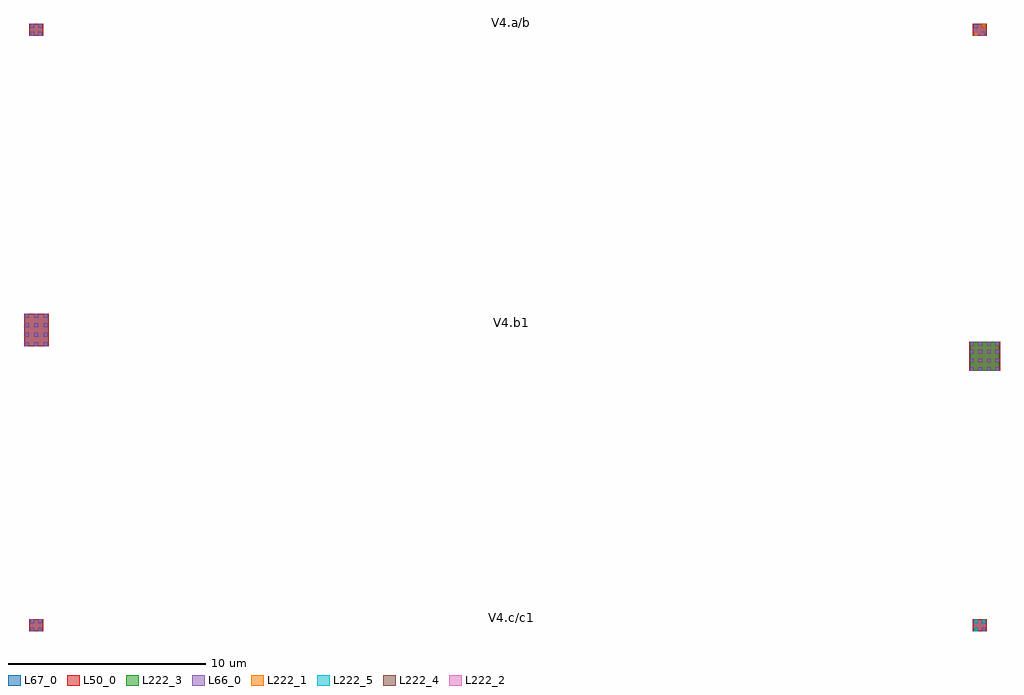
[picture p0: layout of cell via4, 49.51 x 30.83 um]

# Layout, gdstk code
import gdstk
lib = gdstk.Library(unit=1e-6, precision=1e-09)
def R(c, l, rs):  # rectangles x0, y0, x1, y1
    for r in rs: c.add(gdstk.rectangle(r[:2], r[2:], *l))
def A(c, l, x, y, w, h, nx, ny, dx, dy):  # array of equal rectangles
    R(c, l, [(x+i*dx, y+j*dy, x+i*dx+w, y+j*dy+h) for i in range(nx) for j in range(ny)])
def P(c, l, *ps):  # polygons
    for p in ps: c.add(gdstk.Polygon(p, *l))
L50_0 = (50, 0)
L66_0 = (66, 0)
L67_0 = (67, 0)
L222_1 = (222, 1)
L222_2 = (222, 2)
L222_3 = (222, 3)
L222_4 = (222, 4)
L222_5 = (222, 5)

via4 = lib.new_cell('via4')
R(via4, L50_0, [(-24.46,-38.155,-23.76,-37.545), (23.4,-38.155,24.095,-37.55), (23.215,-24.945,24.775,-23.46), (-24.735,-23.69,-23.485,-22.05), (-24.46,-7.945,-23.76,-7.335), (23.395,-7.945,24.105,-7.325)])
A(via4, L66_0, 23.265, -24.94, 0.19, 0.19, 1, 3, 0, 0.435)
A(via4, L66_0, 23.675, -24.94, 0.19, 0.19, 1, 3, 0, 0.435)
A(via4, L66_0, 24.125, -24.94, 0.19, 0.19, 1, 3, 0, 0.435)
A(via4, L66_0, 24.535, -24.94, 0.19, 0.19, 1, 3, 0, 0.435)
A(via4, L66_0, -24.685, -23.685, 0.19, 0.19, 3, 4, 0.48, 0.48)
R(via4, L66_0, [(-24.41,-38.15,-24.22,-37.96), (-24,-38.15,-23.81,-37.96), (23.445,-38.15,23.635,-37.96), (23.855,-38.15,24.045,-37.96), (-24.41,-37.74,-24.22,-37.55), (-24,-37.74,-23.81,-37.55), (23.445,-37.74,23.635,-37.55), (23.855,-37.74,24.045,-37.55), (23.265,-23.655,23.455,-23.465), (23.675,-23.655,23.865,-23.465), (24.125,-23.655,24.315,-23.465), (24.535,-23.655,24.725,-23.465), (-24.41,-7.94,-24.22,-7.75), (-24,-7.94,-23.81,-7.75), (23.835,-7.94,24.025,-7.75), (23.45,-7.935,23.635,-7.75), (23.445,-7.555,23.635,-7.365), (-24.41,-7.53,-24.22,-7.34), (-24,-7.53,-23.81,-7.34), (23.855,-7.53,24.055,-7.33)])
R(via4, L67_0, [(-24.46,-38.155,-23.76,-37.545), (23.4,-38.155,24.095,-37.545), (23.215,-24.945,24.775,-23.46), (-24.735,-23.69,-23.485,-22.05), (-24.46,-7.945,-23.76,-7.335), (23.395,-7.945,24.105,-7.325)])
R(via4, L222_1, [(23.45,-7.935,23.635,-7.75), (23.45,-7.935,23.635,-7.75), (23.855,-7.53,24.055,-7.33), (23.855,-7.53,24.055,-7.33)])
R(via4, L222_2, [(23.83,-7.94,23.84,-7.75), (23.63,-7.935,23.64,-7.75), (23.45,-7.755,23.635,-7.745), (23.445,-7.56,23.635,-7.55)])
A(via4, L222_3, 23.265, -24.94, 0.19, 0.19, 1, 3, 0, 0.435)
A(via4, L222_3, 24.535, -24.94, 0.19, 0.19, 1, 3, 0, 0.435)
R(via4, L222_3, [(23.675,-24.94,23.865,-24.75), (24.125,-24.94,24.315,-24.75), (23.675,-24.505,23.865,-24.315), (23.675,-24.505,23.865,-24.315), (24.125,-24.505,24.315,-24.315), (24.125,-24.505,24.315,-24.315), (23.675,-24.07,23.865,-23.88), (23.675,-24.07,23.865,-23.88), (24.125,-24.07,24.315,-23.88), (24.125,-24.07,24.315,-23.88), (23.265,-23.655,23.455,-23.465), (23.675,-23.655,23.865,-23.465), (24.125,-23.655,24.315,-23.465), (24.535,-23.655,24.725,-23.465)])
P(via4, L222_3, [(23.455,-24.94),(23.455,-24.75),(23.265,-24.75),(23.265,-24.505),(23.455,-24.505),(23.455,-24.315),(23.265,-24.315),(23.265,-24.07),(23.455,-24.07),(23.455,-23.88),(23.265,-23.88),(23.265,-23.655),(23.455,-23.655),(23.455,-23.465),(23.675,-23.465),(23.675,-23.655),(23.865,-23.655),(23.865,-23.465),(24.125,-23.465),(24.125,-23.655),(24.315,-23.655),(24.315,-23.465),(24.535,-23.465),(24.535,-23.655),(24.725,-23.655),(24.725,-23.88),(24.535,-23.88),(24.535,-24.07),(24.725,-24.07),(24.725,-24.315),(24.535,-24.315),(24.535,-24.505),(24.725,-24.505),(24.725,-24.75),(24.535,-24.75),(24.535,-24.94),(24.315,-24.94),(24.315,-24.75),(24.125,-24.75),(24.125,-24.94),(23.865,-24.94),(23.865,-24.75),(23.675,-24.75),(23.675,-24.94)])
R(via4, L222_4, [(23.44,-37.555,23.64,-37.545), (23.445,-37.555,23.635,-37.545), (23.85,-37.555,24.05,-37.545), (23.855,-37.555,24.045,-37.545)])
R(via4, L222_5, [(23.445,-38.15,23.635,-37.96), (23.445,-37.74,23.635,-37.55), (23.855,-37.74,24.045,-37.55)])
via4.add(gdstk.Label('V4.a/b', (0,-7.245), layer=63, texttype=0))
via4.add(gdstk.Label('V4.b1', (0,-22.475), layer=63, texttype=0))
via4.add(gdstk.Label('V4.c/c1', (0,-37.455), layer=63, texttype=0))
via4.add(gdstk.Label('PASS', (-12,5), layer=63, texttype=0))
via4.add(gdstk.Label('FAIL', (12,5), layer=63, texttype=0))
via4.add(gdstk.Label('5.20 Vian', (0,21), layer=63, texttype=0))

lib.write_gds('via4.gds')
